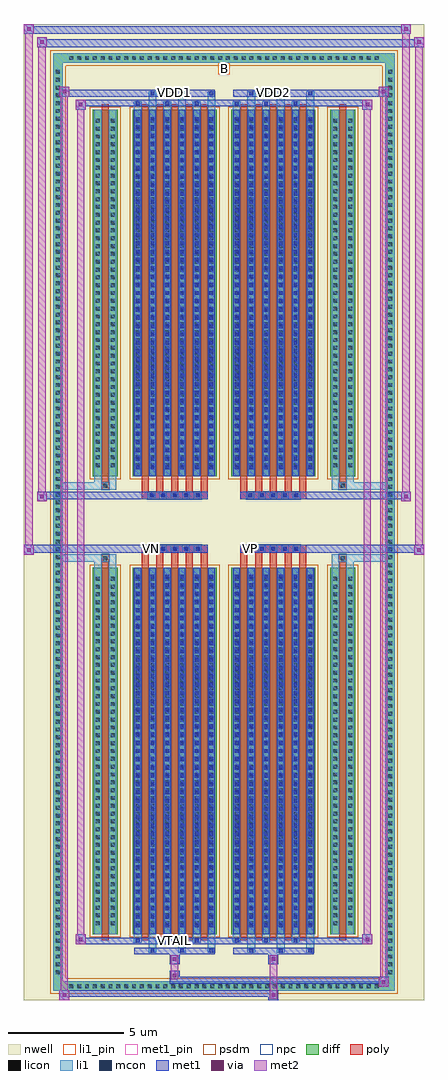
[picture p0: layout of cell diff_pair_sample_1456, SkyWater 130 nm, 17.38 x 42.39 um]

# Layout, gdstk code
import gdstk
lib = gdstk.Library(unit=1e-6, precision=5e-09)
def R(c, l, rs):  # rectangles x0, y0, x1, y1
    for r in rs: c.add(gdstk.rectangle(r[:2], r[2:], *l))
def A(c, l, x, y, w, h, nx, ny, dx, dy):  # array of equal rectangles
    R(c, l, [(x+i*dx, y+j*dy, x+i*dx+w, y+j*dy+h) for i in range(nx) for j in range(ny)])
def P(c, l, *ps):  # polygons
    for p in ps: c.add(gdstk.Polygon(p, *l))
nwell = (64, 20)
diff = (65, 20)
poly = (66, 20)
licon = (66, 44)
li1_pin = (67, 16)
li1 = (67, 20)
mcon = (67, 44)
met1_pin = (68, 16)
met1 = (68, 20)
via = (68, 44)
met2 = (69, 20)
psdm = (94, 20)
npc = (95, 20)

diff_pair_sample_1456 = lib.new_cell('diff_pair_sample_1456')
R(diff_pair_sample_1456, nwell, [(-8.69,-20.76,8.69,21.63), (-6.01,-18.95,-0.01,-0.795), (0.01,-18.95,6.01,-0.795), (-6.01,0.795,-0.01,18.95), (0.01,0.795,6.01,18.95)])
A(diff_pair_sample_1456, diff, -6.835, -20.36, 0.41, 0.41, 40, 2, 0.34, 40.31)
A(diff_pair_sample_1456, diff, -7.42, -19.755, 0.41, 0.41, 1, 116, 0, 0.34)
A(diff_pair_sample_1456, diff, 7.01, -19.755, 0.41, 0.41, 1, 116, 0, 0.34)
R(diff_pair_sample_1456, diff, [(-6.835,-20.36,6.835,-19.95), (-7.42,-19.755,-7.01,19.755), (7.01,-19.755,7.42,19.755), (-5.7,-17.905,-4.61,-1.985), (-3.97,-17.905,-0.32,-1.985), (0.32,-17.905,3.97,-1.985), (4.61,-17.905,5.7,-1.985), (-5.7,1.985,-4.61,17.905), (-3.97,1.985,-0.32,17.905), (0.32,1.985,3.97,17.905), (4.61,1.985,5.7,17.905), (-6.835,19.95,6.835,20.36)])
P(diff_pair_sample_1456, diff, [(7.42,20.36),(-7.42,20.36),(-7.42,-19.95),(-7.01,-19.95),(-7.01,19.95),(7.01,19.95),(7.01,-19.95),(-7.01,-19.95),(-7.42,-19.95),(-7.42,-20.36),(7.42,-20.36)])
A(diff_pair_sample_1456, poly, -3.58, -18.155, 0.31, 16.42, 5, 2, 0.64, 19.89)
A(diff_pair_sample_1456, poly, 0.71, -18.155, 0.31, 16.42, 5, 2, 0.64, 19.89)
A(diff_pair_sample_1456, poly, -3.58, -1.735, 0.31, 0.41, 5, 2, 0.64, 3.06)
A(diff_pair_sample_1456, poly, 0.71, -1.735, 0.31, 0.41, 5, 2, 0.64, 3.06)
A(diff_pair_sample_1456, poly, -3.31, -1.325, 0.33, 0.33, 5, 2, 0.5, 2.32)
A(diff_pair_sample_1456, poly, 0.98, -1.325, 0.33, 0.33, 5, 2, 0.5, 2.32)
R(diff_pair_sample_1456, poly, [(-5.31,-18.155,-5,-1.735), (5,-18.155,5.31,-1.735), (-5.32,-1.735,-4.99,-1.405), (-5.32,-1.735,-4.99,-1.405), (4.99,-1.735,5.32,-1.405), (4.99,-1.735,5.32,-1.405), (-3.58,-1.325,-0.71,-0.995), (0.71,-1.325,3.58,-0.995), (-3.58,0.995,-0.71,1.325), (0.71,0.995,3.58,1.325), (-5.32,1.405,-4.99,1.735), (-5.32,1.405,-4.99,1.735), (4.99,1.405,5.32,1.735), (4.99,1.405,5.32,1.735), (-5.31,1.735,-5,18.155), (5,1.735,5.31,18.155)])
A(diff_pair_sample_1456, licon, -6.715, -20.24, 0.17, 0.17, 40, 2, 0.34, 40.31)
A(diff_pair_sample_1456, licon, -7.3, -19.635, 0.17, 0.17, 1, 116, 0, 0.34)
A(diff_pair_sample_1456, licon, 7.13, -19.635, 0.17, 0.17, 1, 116, 0, 0.34)
A(diff_pair_sample_1456, licon, -5.56, -17.51, 0.17, 0.17, 1, 45, 0, 0.34)
A(diff_pair_sample_1456, licon, -4.92, -17.51, 0.17, 0.17, 1, 45, 0, 0.34)
A(diff_pair_sample_1456, licon, -3.83, -17.51, 0.17, 0.17, 6, 45, 0.64, 0.34)
A(diff_pair_sample_1456, licon, 0.46, -17.51, 0.17, 0.17, 6, 45, 0.64, 0.34)
A(diff_pair_sample_1456, licon, 4.75, -17.51, 0.17, 0.17, 1, 45, 0, 0.34)
A(diff_pair_sample_1456, licon, 5.39, -17.51, 0.17, 0.17, 1, 45, 0, 0.34)
A(diff_pair_sample_1456, licon, -3.23, -1.245, 0.17, 0.17, 5, 2, 0.5, 2.32)
A(diff_pair_sample_1456, licon, 1.06, -1.245, 0.17, 0.17, 5, 2, 0.5, 2.32)
A(diff_pair_sample_1456, licon, -5.56, 2.38, 0.17, 0.17, 1, 45, 0, 0.34)
A(diff_pair_sample_1456, licon, -4.92, 2.38, 0.17, 0.17, 1, 45, 0, 0.34)
A(diff_pair_sample_1456, licon, -3.83, 2.38, 0.17, 0.17, 6, 45, 0.64, 0.34)
A(diff_pair_sample_1456, licon, 0.46, 2.38, 0.17, 0.17, 6, 45, 0.64, 0.34)
A(diff_pair_sample_1456, licon, 4.75, 2.38, 0.17, 0.17, 1, 45, 0, 0.34)
A(diff_pair_sample_1456, licon, 5.39, 2.38, 0.17, 0.17, 1, 45, 0, 0.34)
R(diff_pair_sample_1456, licon, [(-5.24,-1.655,-5.07,-1.485), (5.07,-1.655,5.24,-1.485), (-5.24,1.485,-5.07,1.655), (5.07,1.485,5.24,1.655)])
R(diff_pair_sample_1456, li1_pin, [(-0.25,19.45,0.25,19.95)])
A(diff_pair_sample_1456, li1, -6.795, -20.32, 0.33, 0.33, 40, 2, 0.34, 40.31)
A(diff_pair_sample_1456, li1, -7.38, -19.715, 0.33, 0.33, 1, 116, 0, 0.34)
A(diff_pair_sample_1456, li1, 7.05, -19.715, 0.33, 0.33, 1, 116, 0, 0.34)
A(diff_pair_sample_1456, li1, -3.27, -18.71, 0.33, 0.805, 3, 2, 1.28, 36.615)
A(diff_pair_sample_1456, li1, -3.19, -18.71, 0.17, 0.17, 3, 2, 1.28, 37.25)
A(diff_pair_sample_1456, li1, 1.02, -18.71, 0.33, 0.805, 3, 2, 1.28, 36.615)
A(diff_pair_sample_1456, li1, 1.1, -18.71, 0.17, 0.17, 3, 2, 1.28, 37.25)
A(diff_pair_sample_1456, li1, -3.91, -18.28, 0.33, 0.375, 3, 2, 1.28, 36.185)
A(diff_pair_sample_1456, li1, -3.83, -18.28, 0.17, 0.17, 3, 2, 1.28, 36.39)
A(diff_pair_sample_1456, li1, 0.38, -18.28, 0.33, 0.375, 3, 2, 1.28, 36.185)
A(diff_pair_sample_1456, li1, 0.46, -18.28, 0.17, 0.17, 3, 2, 1.28, 36.39)
A(diff_pair_sample_1456, li1, -3.91, -17.905, 0.33, 15.92, 6, 2, 0.64, 19.89)
A(diff_pair_sample_1456, li1, 0.38, -17.905, 0.33, 15.92, 6, 2, 0.64, 19.89)
A(diff_pair_sample_1456, li1, -5.64, -17.59, 0.33, 0.33, 1, 45, 0, 0.34)
A(diff_pair_sample_1456, li1, -5, -17.59, 0.33, 0.33, 1, 45, 0, 0.34)
A(diff_pair_sample_1456, li1, -3.91, -17.59, 0.33, 0.33, 6, 45, 0.64, 0.34)
A(diff_pair_sample_1456, li1, -3.83, -17.59, 0.17, 0.17, 6, 43, 0.64, 0.36)
A(diff_pair_sample_1456, li1, -3.83, -17.59, 0.17, 15.29, 6, 2, 0.64, 19.89)
A(diff_pair_sample_1456, li1, 0.38, -17.59, 0.33, 0.33, 6, 45, 0.64, 0.34)
A(diff_pair_sample_1456, li1, 0.46, -17.59, 0.17, 0.17, 6, 43, 0.64, 0.36)
A(diff_pair_sample_1456, li1, 0.46, -17.59, 0.17, 15.29, 6, 2, 0.64, 19.89)
A(diff_pair_sample_1456, li1, 4.67, -17.59, 0.33, 0.33, 1, 45, 0, 0.34)
A(diff_pair_sample_1456, li1, 5.31, -17.59, 0.33, 0.33, 1, 45, 0, 0.34)
A(diff_pair_sample_1456, li1, -3.31, -1.325, 0.33, 0.33, 5, 2, 0.5, 2.32)
A(diff_pair_sample_1456, li1, 0.98, -1.325, 0.33, 0.33, 5, 2, 0.5, 2.32)
A(diff_pair_sample_1456, li1, -5.64, 2.3, 0.33, 0.33, 1, 45, 0, 0.34)
A(diff_pair_sample_1456, li1, -5, 2.3, 0.33, 0.33, 1, 45, 0, 0.34)
A(diff_pair_sample_1456, li1, -3.91, 2.3, 0.33, 0.33, 6, 45, 0.64, 0.34)
A(diff_pair_sample_1456, li1, -3.83, 2.3, 0.17, 0.17, 6, 43, 0.64, 0.36)
A(diff_pair_sample_1456, li1, 0.38, 2.3, 0.33, 0.33, 6, 45, 0.64, 0.34)
A(diff_pair_sample_1456, li1, 0.46, 2.3, 0.17, 0.17, 6, 43, 0.64, 0.36)
A(diff_pair_sample_1456, li1, 4.67, 2.3, 0.33, 0.33, 1, 45, 0, 0.34)
A(diff_pair_sample_1456, li1, 5.31, 2.3, 0.33, 0.33, 1, 45, 0, 0.34)
R(diff_pair_sample_1456, li1, [(-7.42,-20.36,-7.01,-19.95), (-7.42,-20.36,-7.01,-19.95), (-7.01,-20.36,7.01,-19.95), (7.01,-20.36,7.42,-19.95), (7.01,-20.36,7.42,-19.95), (-7.42,-19.95,-7.01,19.95), (7.01,-19.95,7.42,19.95), (-5.64,-17.905,-5.31,-1.985), (-5,-17.905,-4.67,-1.985), (4.67,-17.905,5,-1.985), (5.31,-17.905,5.64,-1.985), (-5.64,-1.985,-5.31,-1.405), (-5,-1.985,-4.67,-1.405), (4.67,-1.985,5,-1.405), (5.31,-1.985,5.64,-1.405), (-7.42,-1.735,-5.32,-1.405), (-5.64,-1.735,-5.32,-1.405), (-5.32,-1.735,-4.99,-1.405), (-4.99,-1.735,-4.67,-1.405), (4.67,-1.735,4.99,-1.405), (4.99,-1.735,5.32,-1.405), (4.99,-1.735,7.42,-1.405), (5.32,-1.735,5.64,-1.405), (-7.42,1.405,-5.32,1.735), (-5.64,1.405,-5.32,1.735), (-5.64,1.405,-5.31,1.985), (-5.32,1.405,-4.99,1.735), (-5,1.405,-4.67,1.985), (-4.99,1.405,-4.67,1.735), (4.67,1.405,4.99,1.735), (4.67,1.405,5,1.985), (4.99,1.405,5.32,1.735), (4.99,1.405,7.42,1.735), (5.31,1.405,5.64,1.985), (5.32,1.405,5.64,1.735), (-5.64,1.985,-5.31,17.905), (-5,1.985,-4.67,17.905), (4.67,1.985,5,17.905), (5.31,1.985,5.64,17.905), (-7.42,19.95,-7.01,20.36), (-7.42,19.95,-7.01,20.36), (-7.01,19.95,7.01,20.36), (7.01,19.95,7.42,20.36), (7.01,19.95,7.42,20.36)])
A(diff_pair_sample_1456, mcon, -3.19, -18.71, 0.17, 0.17, 3, 2, 1.28, 37.25)
A(diff_pair_sample_1456, mcon, 1.1, -18.71, 0.17, 0.17, 3, 2, 1.28, 37.25)
A(diff_pair_sample_1456, mcon, -3.83, -18.28, 0.17, 0.17, 3, 2, 1.28, 36.39)
A(diff_pair_sample_1456, mcon, 0.46, -18.28, 0.17, 0.17, 3, 2, 1.28, 36.39)
A(diff_pair_sample_1456, mcon, -3.83, -17.59, 0.17, 0.17, 6, 43, 0.64, 0.36)
A(diff_pair_sample_1456, mcon, 0.46, -17.59, 0.17, 0.17, 6, 43, 0.64, 0.36)
A(diff_pair_sample_1456, mcon, -3.23, -1.245, 0.17, 0.17, 5, 2, 0.5, 2.32)
A(diff_pair_sample_1456, mcon, 1.06, -1.245, 0.17, 0.17, 5, 2, 0.5, 2.32)
A(diff_pair_sample_1456, mcon, -3.83, 2.3, 0.17, 0.17, 6, 43, 0.64, 0.36)
A(diff_pair_sample_1456, mcon, 0.46, 2.3, 0.17, 0.17, 6, 43, 0.64, 0.36)
R(diff_pair_sample_1456, met1_pin, [(-2.28,-18.32,-2.01,-18.05), (-3.28,-1.285,-3.01,-1.015), (1.01,-1.285,1.28,-1.015), (-2.28,18.5,-2.01,18.77), (2.01,18.5,2.28,18.77)])
A(diff_pair_sample_1456, met1, -3.25, -18.77, 0.29, 0.29, 3, 2, 1.28, 37.25)
A(diff_pair_sample_1456, met1, 1.04, -18.77, 0.29, 0.29, 3, 2, 1.28, 37.25)
A(diff_pair_sample_1456, met1, -3.89, -18.34, 0.29, 0.29, 3, 2, 1.28, 36.39)
A(diff_pair_sample_1456, met1, 0.4, -18.34, 0.29, 0.29, 3, 2, 1.28, 36.39)
A(diff_pair_sample_1456, met1, -3.89, -17.905, 0.29, 15.92, 6, 2, 0.64, 19.89)
A(diff_pair_sample_1456, met1, 0.4, -17.905, 0.29, 15.92, 6, 2, 0.64, 19.89)
A(diff_pair_sample_1456, met1, -3.89, -17.65, 0.29, 0.29, 6, 43, 0.64, 0.36)
A(diff_pair_sample_1456, met1, 0.4, -17.65, 0.29, 0.29, 6, 43, 0.64, 0.36)
A(diff_pair_sample_1456, met1, -3.29, -1.305, 0.29, 0.29, 5, 2, 0.5, 2.32)
A(diff_pair_sample_1456, met1, 1, -1.305, 0.29, 0.29, 5, 2, 0.5, 2.32)
A(diff_pair_sample_1456, met1, -3.89, 2.24, 0.29, 0.29, 6, 43, 0.64, 0.36)
A(diff_pair_sample_1456, met1, 0.4, 2.24, 0.29, 0.29, 6, 43, 0.64, 0.36)
R(diff_pair_sample_1456, met1, [(-7.15,-20.76,-6.72,-20.33), (1.93,-20.76,2.36,-20.33), (-7.15,-20.62,2.36,-20.33), (6.72,-20.19,7.15,-19.76), (-2.36,-20.05,7.15,-19.76), (-2.36,-19.91,-1.93,-19.48), (-2.36,-19.2,-1.93,-18.77), (1.93,-19.2,2.36,-18.77), (-3.89,-18.77,-0.4,-18.48), (0.4,-18.77,3.89,-18.48), (-6.44,-18.34,-6.01,-17.91), (-6.44,-18.34,-3.89,-18.05), (-3.89,-18.34,-0.4,-18.05), (-0.4,-18.34,0.4,-18.05), (0.4,-18.34,3.89,-18.05), (3.89,-18.34,6.44,-18.05), (6.01,-18.34,6.44,-17.91), (-8.69,-1.425,-8.26,-0.995), (8.26,-1.425,8.69,-0.995), (-8.69,-1.325,-0.71,-0.995), (-3.58,-1.325,-0.71,-0.995), (0.71,-1.325,3.58,-0.995), (0.71,-1.325,8.69,-0.995), (-8.12,0.895,-7.69,1.325), (7.69,0.895,8.12,1.325), (-8.12,0.995,-3.58,1.325), (-3.58,0.995,-0.71,1.325), (0.71,0.995,3.58,1.325), (3.58,0.995,8.12,1.325), (-6.44,17.91,-6.01,18.34), (6.01,17.91,6.44,18.34), (-6.44,18.05,-3.89,18.34), (-3.89,18.05,-0.4,18.34), (-0.4,18.05,0.4,18.34), (0.4,18.05,3.89,18.34), (3.89,18.05,6.44,18.34), (-7.15,18.48,-6.72,18.91), (-7.15,18.48,-3.89,18.77), (-3.89,18.48,-0.4,18.77), (0.4,18.48,3.89,18.77), (3.89,18.48,7.15,18.77), (6.72,18.48,7.15,18.91), (-8.12,20.63,-7.69,21.06), (-8.12,20.63,-6.01,20.96), (-6.01,20.63,6.01,20.96), (6.01,20.63,8.69,20.96), (8.26,20.63,8.69,21.06), (-8.69,21.2,-8.26,21.63), (-8.69,21.2,-6.01,21.53), (-6.01,21.2,6.01,21.53), (6.01,21.2,8.12,21.53), (7.69,21.2,8.12,21.63)])
R(diff_pair_sample_1456, via, [(-7.01,-20.62,-6.86,-20.47), (2.07,-20.62,2.22,-20.47), (6.86,-20.05,7.01,-19.9), (-2.22,-19.77,-2.07,-19.62), (-2.22,-19.06,-2.07,-18.91), (2.07,-19.06,2.22,-18.91), (-6.3,-18.2,-6.15,-18.05), (6.15,-18.2,6.3,-18.05), (-8.55,-1.285,-8.4,-1.135), (8.4,-1.285,8.55,-1.135), (-7.98,1.035,-7.83,1.185), (7.83,1.035,7.98,1.185), (-6.3,18.05,-6.15,18.2), (6.15,18.05,6.3,18.2), (-7.01,18.62,-6.86,18.77), (6.86,18.62,7.01,18.77), (-7.98,20.77,-7.83,20.92), (8.4,20.77,8.55,20.92), (-8.55,21.34,-8.4,21.49), (7.83,21.34,7.98,21.49)])
R(diff_pair_sample_1456, met2, [(-7.15,-20.76,-6.72,-20.33), (-7.08,-20.76,-6.79,18.91), (-6.79,-20.76,-6.72,-20.33), (-7.1,-20.71,-6.77,-20.38), (1.98,-20.71,2.31,-20.38), (1.98,-20.38,2.31,-19.15), (6.72,-20.19,7.15,-19.76), (6.79,-20.19,7.08,18.91), (7.08,-20.19,7.15,-19.76), (6.77,-20.14,7.1,-19.81), (-2.31,-19.86,-1.98,-19.53), (-2.31,-19.53,-1.98,-19.15), (-2.31,-19.15,-1.98,-18.82), (1.98,-19.15,2.31,-18.82), (-6.44,-18.34,-6.01,-17.91), (-6.37,-18.34,-6.08,18.34), (-6.08,-18.34,-6.01,-17.91), (6.01,-18.34,6.44,-17.91), (6.08,-18.34,6.37,18.34), (6.37,-18.34,6.44,-17.91), (-6.39,-18.29,-6.06,-17.96), (6.06,-18.29,6.39,-17.96), (-8.69,-1.425,-8.26,-0.995), (-8.64,-1.425,-8.31,21.63), (-8.31,-1.425,-8.26,-0.995), (8.26,-1.425,8.69,-0.995), (8.31,-1.425,8.64,21.06), (8.64,-1.425,8.69,-0.995), (-8.64,-1.375,-8.31,-1.045), (8.31,-1.375,8.64,-1.045), (-8.12,0.895,-7.69,1.325), (-8.07,0.895,-7.74,21.06), (-7.74,0.895,-7.69,1.325), (7.69,0.895,8.12,1.325), (7.74,0.895,8.07,21.63), (8.07,0.895,8.12,1.325), (-8.07,0.945,-7.74,1.275), (7.74,0.945,8.07,1.275), (-6.44,17.91,-6.01,18.34), (-6.08,17.91,-6.01,18.34), (6.01,17.91,6.44,18.34), (6.37,17.91,6.44,18.34), (-6.39,17.96,-6.06,18.29), (6.06,17.96,6.39,18.29), (-7.15,18.48,-6.72,18.91), (-6.79,18.48,-6.72,18.91), (6.72,18.48,7.15,18.91), (7.08,18.48,7.15,18.91), (-7.1,18.53,-6.77,18.86), (6.77,18.53,7.1,18.86), (-8.12,20.63,-7.69,21.06), (-7.74,20.63,-7.69,21.06), (8.26,20.63,8.69,21.06), (8.64,20.63,8.69,21.06), (-8.07,20.68,-7.74,21.01), (8.31,20.68,8.64,21.01), (-8.69,21.2,-8.26,21.63), (-8.31,21.2,-8.26,21.63), (7.69,21.2,8.12,21.63), (8.07,21.2,8.12,21.63), (-8.64,21.25,-8.31,21.58), (7.74,21.25,8.07,21.58)])
R(diff_pair_sample_1456, psdm, [(-5.83,-18.035,-4.48,-1.855), (-4.1,-18.035,-0.19,-1.855), (0.19,-18.035,4.1,-1.855), (4.48,-18.035,5.83,-1.855), (-5.83,1.855,-4.48,18.035), (-4.1,1.855,-0.19,18.035), (0.19,1.855,4.1,18.035), (4.48,1.855,5.83,18.035)])
P(diff_pair_sample_1456, psdm, [(7.55,20.49),(-7.55,20.49),(-7.55,-19.82),(-6.88,-19.82),(-6.88,19.82),(6.88,19.82),(6.88,-19.82),(-6.88,-19.82),(-7.55,-19.82),(-7.55,-20.49),(7.55,-20.49)])
A(diff_pair_sample_1456, npc, -3.33, -1.345, 0.37, 0.37, 5, 2, 0.5, 2.32)
A(diff_pair_sample_1456, npc, 0.96, -1.345, 0.37, 0.37, 5, 2, 0.5, 2.32)
R(diff_pair_sample_1456, npc, [(-5.34,-1.755,-4.97,-1.385), (4.97,-1.755,5.34,-1.385), (-3.33,-1.345,-2.46,-0.975), (-3.33,-1.345,-2.46,-0.975), (-2.83,-1.345,-1.96,-0.975), (-2.83,-1.345,-1.96,-0.975), (-2.33,-1.345,-1.46,-0.975), (-2.33,-1.345,-1.46,-0.975), (-1.83,-1.345,-0.96,-0.975), (-1.83,-1.345,-0.96,-0.975), (0.96,-1.345,1.83,-0.975), (0.96,-1.345,1.83,-0.975), (1.46,-1.345,2.33,-0.975), (1.46,-1.345,2.33,-0.975), (1.96,-1.345,2.83,-0.975), (1.96,-1.345,2.83,-0.975), (2.46,-1.345,3.33,-0.975), (2.46,-1.345,3.33,-0.975), (-3.33,0.975,-2.46,1.345), (-3.33,0.975,-2.46,1.345), (-2.83,0.975,-1.96,1.345), (-2.83,0.975,-1.96,1.345), (-2.33,0.975,-1.46,1.345), (-2.33,0.975,-1.46,1.345), (-1.83,0.975,-0.96,1.345), (-1.83,0.975,-0.96,1.345), (0.96,0.975,1.83,1.345), (0.96,0.975,1.83,1.345), (1.46,0.975,2.33,1.345), (1.46,0.975,2.33,1.345), (1.96,0.975,2.83,1.345), (1.96,0.975,2.83,1.345), (2.46,0.975,3.33,1.345), (2.46,0.975,3.33,1.345), (-5.34,1.385,-4.97,1.755), (4.97,1.385,5.34,1.755)])
diff_pair_sample_1456.add(gdstk.Label('VTAIL', (-2.145,-18.185), layer=68, texttype=5))
diff_pair_sample_1456.add(gdstk.Label('VN', (-3.145,-1.15), layer=68, texttype=5))
diff_pair_sample_1456.add(gdstk.Label('VP', (1.145,-1.15), layer=68, texttype=5))
diff_pair_sample_1456.add(gdstk.Label('B', (0,19.7), layer=67, texttype=5))
diff_pair_sample_1456.add(gdstk.Label('VDD2', (2.145,18.635), layer=68, texttype=5))
diff_pair_sample_1456.add(gdstk.Label('VDD1', (-2.145,18.635), layer=68, texttype=5))

lib.write_gds('diff_pair_sample_1456.gds')
